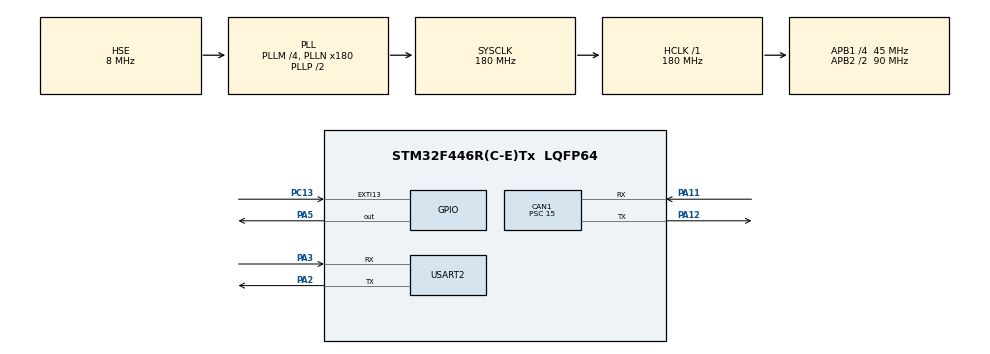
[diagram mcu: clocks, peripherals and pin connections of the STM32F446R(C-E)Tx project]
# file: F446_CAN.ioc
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Mcu.Family=STM32F4
RCC.PLLSourceVirtual=RCC_PLLSOURCE_HSE
CAN1.NART=ENABLE
PH0-OSC_IN.Signal=RCC_OSC_IN
RCC.CortexFreq_Value=180000000
PC13.Signal=GPXTI13
CAN1.CalculateBaudRate=500000
PA11.Mode=CAN_Activate
RCC.APB1CLKDivider=RCC_HCLK_DIV4
PB13.Signal=CAN2_TX
RCC.SYSCLKSource=RCC_SYSCLKSOURCE_PLLCLK
ProjectManager.StackSize=0x400
PA3.Mode=Asynchronous
PA12.Signal=CAN1_TX
CAN1.BS2=CAN_BS2_3TQ
CAN1.BS1=CAN_BS1_2TQ
ProjectManager.TargetToolchain=STM32CubeIDE
RCC.HCLKFreq_Value=180000000
RCC.APB2TimFreq_Value=180000000
RCC.USBFreq_Value=180000000
RCC.AHBFreq_Value=180000000
PH0-OSC_IN.Mode=HSE-External-Clock-Source
NVIC.EXTI15_10_IRQn=true\:0\:0\:false\:false\:true\:true\:true
PA5.Signal=GPIO_Output
RCC.HSE_VALUE=8000000
board=custom
RCC.VCOOutputFreq_Value=360000000
CAN1.RFLM=DISABLE
RCC.APB2Freq_Value=90000000
CAN1.Mode=CAN_MODE_NORMAL
PC13.GPIO_PuPd=GPIO_NOPULL
PH1-OSC_OUT.Signal=RCC_OSC_OUT
Mcu.Name=STM32F446R(C-E)Tx
PA2.Signal=USART2_TX
CAN1.SJW=CAN_SJW_2TQ
PH1-OSC_OUT.Mode=HSE-External-Clock-Source
RCC.SYSCLKFreq_VALUE=180000000
CAN1.Prescaler=15
Mcu.Package=LQFP64
PA12.Mode=CAN_Activate
PC13.GPIO_ModeDefaultEXTI=GPIO_MODE_IT_RISING
USART2.VirtualMode=VM_ASYNC
PA11.Signal=CAN1_RX
ProjectManager.HeapSize=0x200
NVIC.PriorityGroup=NVIC_PRIORITYGROUP_4
RCC.APB2CLKDivider=RCC_HCLK_DIV2
RCC.PLLM=4
RCC.PLLN=180
RCC.APB1TimFreq_Value=90000000
PA2.Mode=Asynchronous
RCC.APB1Freq_Value=45000000
CAN1.CalculateTimeBit=1999.99
PB12.Signal=CAN2_RX
NVIC.CAN1_RX0_IRQn=true\:0\:0\:false\:false\:true\:true\:true
CAN1.CalculateTimeQuantum=333.3333333333333
PA3.Signal=USART2_RX

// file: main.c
/* USER CODE BEGIN Header */
/**
  ******************************************************************************
  * @file           : main.c
  * @brief          : Main program body
  ******************************************************************************
  * @attention
  *
  * <h2><center>&copy; Copyright (c) 2021 STMicroelectronics.
  * All rights reserved.</center></h2>
  *
  * This software component is licensed by ST under BSD 3-Clause license,
  * the "License"; You may not use this file except in compliance with the
  * License. You may obtain a copy of the License at:
  *                        opensource.org/licenses/BSD-3-Clause
  *
  ******************************************************************************
  */
/* USER CODE END Header */
#include "main.h"

/* USER CODE BEGIN Includes */
#include "string.h"
/* USER CODE END Includes */

CAN_HandleTypeDef hcan1;

UART_HandleTypeDef huart2;

void SystemClock_Config(void);
static void MX_GPIO_Init(void);
static void MX_CAN1_Init(void);
static void MX_USART2_UART_Init(void);

/* USER CODE BEGIN 0 */

int16_t failsafe = 3000;

CAN_HandleTypeDef     CanHandle;
CAN_TxHeaderTypeDef   TxHeader;
CAN_RxHeaderTypeDef   RxHeader;
uint8_t               TxData[8];
uint8_t               RxData[8];
uint32_t              TxMailbox;

int F103Data = 0;
int F750Data = 0;

int indx = 0;

void HAL_CAN_RxFifo0MsgPendingCallback(CAN_HandleTypeDef *hcan)
{
  if (HAL_CAN_GetRxMessage(hcan, CAN_RX_FIFO0, &RxHeader, RxData) != HAL_OK)
  {
    Error_Handler();
  }

  // additional filter
  if (RxHeader.StdId == 0x211) /* F103 ID */
  {
	  F103Data = 1;
	  F750Data = 0;
  }

  else if (RxHeader.StdId == 0x215) /* F750 ID */
  {
	  F750Data = 1;
	  F103Data = 0;
  }

  failsafe = 3000;
}
/* USER CODE END 0 */

int main(void)
{

  /* MCU Configuration--------------------------------------------------------*/

  /* Reset of all peripherals, Initializes the Flash interface and the Systick. */
  HAL_Init();

  /* Configure the system clock */
  SystemClock_Config();

  /* Initialize all configured peripherals */
  MX_GPIO_Init();
  MX_CAN1_Init();
  MX_USART2_UART_Init();
  /* USER CODE BEGIN 2 */

  if (HAL_CAN_Start(&hcan1) != HAL_OK)
  {
	  Error_Handler();
  }

  if (HAL_CAN_ActivateNotification(&hcan1, CAN_IT_RX_FIFO0_MSG_PENDING) != HAL_OK)
  {
	  Error_Handler();
  }

	TxHeader.StdId = 0x446;
	TxHeader.ExtId = 0x00;
	TxHeader.RTR = CAN_RTR_DATA;
	TxHeader.IDE = CAN_ID_STD;
	TxHeader.DLC = 4;
	TxHeader.TransmitGlobalTime = DISABLE;

	HAL_Delay (1000);

	strcpy ((char *)TxData, "F103");
	HAL_CAN_AddTxMessage(&hcan1, &TxHeader, TxData, &TxMailbox);

  /* USER CODE END 2 */

  /* Infinite loop */
  while (1)
  {

    /* USER CODE BEGIN 3 */

	  if (F103Data || F750Data)
	  {
		  HAL_UART_Transmit(&huart2, RxData, sizeof(RxData), 100);
		  HAL_UART_Transmit(&huart2, (uint8_t *) "\r\n", 2, 10);

		  if (F103Data)	strcpy((char *)TxData, "F750");
		  else if (F750Data) strcpy ((char *)TxData, "F103");

		  F103Data = F750Data = 0;

		  HAL_Delay(500);

	  	  HAL_CAN_AddTxMessage(&hcan1, &TxHeader, TxData, &TxMailbox);
	  }

	  if (failsafe < 0)
	  {
		  HAL_CAN_AddTxMessage(&hcan1, &TxHeader, TxData, &TxMailbox);
		  failsafe = 3000;
	  }

  }
  /* USER CODE END 3 */
}

void SystemClock_Config(void)
{
  RCC_OscInitTypeDef RCC_OscInitStruct = {0};
  RCC_ClkInitTypeDef RCC_ClkInitStruct = {0};

  /** Configure the main internal regulator output voltage
  */
  __HAL_RCC_PWR_CLK_ENABLE();
  __HAL_PWR_VOLTAGESCALING_CONFIG(PWR_REGULATOR_VOLTAGE_SCALE1);
  /** Initializes the RCC Oscillators according to the specified parameters
  * in the RCC_OscInitTypeDef structure.
  */
  RCC_OscInitStruct.OscillatorType = RCC_OSCILLATORTYPE_HSE;
  RCC_OscInitStruct.HSEState = RCC_HSE_BYPASS;
  RCC_OscInitStruct.PLL.PLLState = RCC_PLL_ON;
  RCC_OscInitStruct.PLL.PLLSource = RCC_PLLSOURCE_HSE;
  RCC_OscInitStruct.PLL.PLLM = 4;
  RCC_OscInitStruct.PLL.PLLN = 180;
  RCC_OscInitStruct.PLL.PLLP = RCC_PLLP_DIV2;
  RCC_OscInitStruct.PLL.PLLQ = 2;
  RCC_OscInitStruct.PLL.PLLR = 2;
  if (HAL_RCC_OscConfig(&RCC_OscInitStruct) != HAL_OK)
  {
    Error_Handler();
  }
  /** Activate the Over-Drive mode
  */
  if (HAL_PWREx_EnableOverDrive() != HAL_OK)
  {
    Error_Handler();
  }
  /** Initializes the CPU, AHB and APB buses clocks
  */
  RCC_ClkInitStruct.ClockType = RCC_CLOCKTYPE_HCLK|RCC_CLOCKTYPE_SYSCLK
                              |RCC_CLOCKTYPE_PCLK1|RCC_CLOCKTYPE_PCLK2;
  RCC_ClkInitStruct.SYSCLKSource = RCC_SYSCLKSOURCE_PLLCLK;
  RCC_ClkInitStruct.AHBCLKDivider = RCC_SYSCLK_DIV1;
  RCC_ClkInitStruct.APB1CLKDivider = RCC_HCLK_DIV4;
  RCC_ClkInitStruct.APB2CLKDivider = RCC_HCLK_DIV2;

  if (HAL_RCC_ClockConfig(&RCC_ClkInitStruct, FLASH_LATENCY_5) != HAL_OK)
  {
    Error_Handler();
  }
}

static void MX_CAN1_Init(void)
{

  hcan1.Instance = CAN1;
  hcan1.Init.Prescaler = 15;
  hcan1.Init.Mode = CAN_MODE_NORMAL;
  hcan1.Init.SyncJumpWidth = CAN_SJW_2TQ;
  hcan1.Init.TimeSeg1 = CAN_BS1_2TQ;
  hcan1.Init.TimeSeg2 = CAN_BS2_3TQ;
  hcan1.Init.TimeTriggeredMode = DISABLE;
  hcan1.Init.AutoBusOff = DISABLE;
  hcan1.Init.AutoWakeUp = DISABLE;
  hcan1.Init.AutoRetransmission = DISABLE;
  hcan1.Init.ReceiveFifoLocked = DISABLE;
  hcan1.Init.TransmitFifoPriority = DISABLE;
  if (HAL_CAN_Init(&hcan1) != HAL_OK)
  {
    Error_Handler();
  }
  /* USER CODE BEGIN CAN1_Init 2 */

  CAN_FilterTypeDef canfilterconfig;

  canfilterconfig.FilterActivation = CAN_FILTER_ENABLE;
  canfilterconfig.FilterBank = 18;  // which filter bank to use from the assigned ones
  canfilterconfig.FilterFIFOAssignment = CAN_FILTER_FIFO0;
  canfilterconfig.FilterIdHigh = 0x201<<5;
  canfilterconfig.FilterIdLow = 0;
  canfilterconfig.FilterMaskIdHigh = 0x201<<5;
  canfilterconfig.FilterMaskIdLow = 0x0000;
  canfilterconfig.FilterMode = CAN_FILTERMODE_IDMASK;
  canfilterconfig.FilterScale = CAN_FILTERSCALE_32BIT;
  canfilterconfig.SlaveStartFilterBank = 40;  // how many filters to assign to the CAN1 (master can)

  HAL_CAN_ConfigFilter(&hcan1, &canfilterconfig);

  /* USER CODE END CAN1_Init 2 */

}

static void MX_USART2_UART_Init(void)
{

  huart2.Instance = USART2;
  huart2.Init.BaudRate = 115200;
  huart2.Init.WordLength = UART_WORDLENGTH_8B;
  huart2.Init.StopBits = UART_STOPBITS_1;
  huart2.Init.Parity = UART_PARITY_NONE;
  huart2.Init.Mode = UART_MODE_TX_RX;
  huart2.Init.HwFlowCtl = UART_HWCONTROL_NONE;
  huart2.Init.OverSampling = UART_OVERSAMPLING_16;
  if (HAL_UART_Init(&huart2) != HAL_OK)
  {
    Error_Handler();
  }

}

static void MX_GPIO_Init(void)
{
  GPIO_InitTypeDef GPIO_InitStruct = {0};

  /* GPIO Ports Clock Enable */
  __HAL_RCC_GPIOC_CLK_ENABLE();
  __HAL_RCC_GPIOH_CLK_ENABLE();
  __HAL_RCC_GPIOA_CLK_ENABLE();
  __HAL_RCC_GPIOB_CLK_ENABLE();

  /*Configure GPIO pin Output Level */
  HAL_GPIO_WritePin(GPIOA, GPIO_PIN_5, GPIO_PIN_RESET);

  /*Configure GPIO pin : PC13 */
  GPIO_InitStruct.Pin = GPIO_PIN_13;
  GPIO_InitStruct.Mode = GPIO_MODE_IT_RISING;
  GPIO_InitStruct.Pull = GPIO_NOPULL;
  HAL_GPIO_Init(GPIOC, &GPIO_InitStruct);

  /*Configure GPIO pin : PA5 */
  GPIO_InitStruct.Pin = GPIO_PIN_5;
  GPIO_InitStruct.Mode = GPIO_MODE_OUTPUT_PP;
  GPIO_InitStruct.Pull = GPIO_NOPULL;
  GPIO_InitStruct.Speed = GPIO_SPEED_FREQ_LOW;
  HAL_GPIO_Init(GPIOA, &GPIO_InitStruct);

  /*Configure GPIO pins : PB12 PB13 */
  GPIO_InitStruct.Pin = GPIO_PIN_12|GPIO_PIN_13;
  GPIO_InitStruct.Mode = GPIO_MODE_AF_PP;
  GPIO_InitStruct.Pull = GPIO_NOPULL;
  GPIO_InitStruct.Speed = GPIO_SPEED_FREQ_VERY_HIGH;
  GPIO_InitStruct.Alternate = GPIO_AF9_CAN2;
  HAL_GPIO_Init(GPIOB, &GPIO_InitStruct);

  /* EXTI interrupt init*/
  HAL_NVIC_SetPriority(EXTI15_10_IRQn, 0, 0);
  HAL_NVIC_EnableIRQ(EXTI15_10_IRQn);

}

void Error_Handler(void)
{
  __disable_irq();
  while (1)
  {
  }
}

/************************ (C) COPYRIGHT STMicroelectronics *****END OF FILE****/
